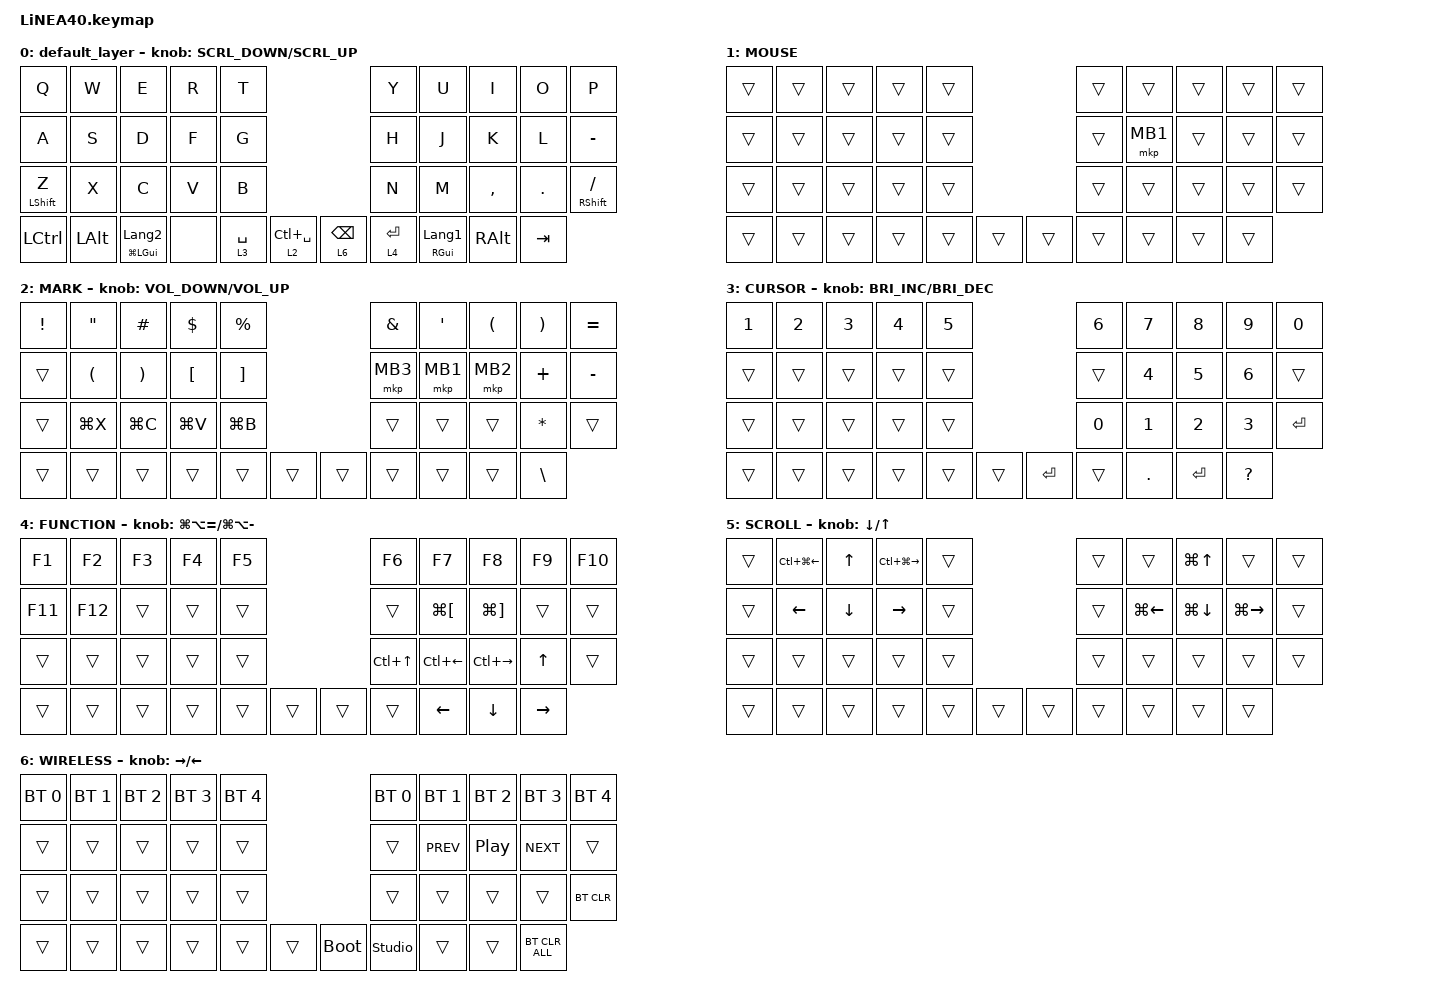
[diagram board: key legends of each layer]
#define ZMK_POINTING_DEFAULT_SCRL_VAL 150

#include <dt-bindings/zmk/input_transform.h>
#include <input/processors.dtsi>
#include <zephyr/dt-bindings/input/input-event-codes.h>
#include <behaviors.dtsi>
#include <dt-bindings/zmk/bt.h>
#include <dt-bindings/zmk/keys.h>
#include <dt-bindings/zmk/pointing.h>

#define MOUSE 1
#define MARK 2
#define CURSOR 3
#define FUNCTION 4
#define SCROLL 5
#define WIRELESS 6

//mouse cursol

&mmv {
    delay-ms = <20>;
    trigger-period-ms = <5>;
    time-to-max-speed-ms = <100>;
    acceleration-exponent = <2>;
};

//mouse scroll

&msc {
    delay-ms = <3>;
    trigger-period-ms = <3>;
    time-to-max-speed-ms = <100>;
    acceleration-exponent = <0>;
};

&lt { quick-tap-ms = <133>; };

/ {
    input_processors {
        zip_wheel_scaler: zip_wheel_scaler {
            compatible = "zmk,input-processor-scaler";
            #input-processor-cells = <2>;
            type = <INPUT_EV_REL>;
            codes = <INPUT_REL_WHEEL>;
            track-remainders;
        };
    };
};

&msc_input_listener {
    speed_up {
        layers = <FUNCTION>;
        input-processors = <&zip_wheel_scaler 3 1>; //スクロールを3倍速にする
    };
};

&trackball_listener {
    scroller {
        layers = <SCROLL>;
        input-processors =
            <&zip_xy_transform INPUT_TRANSFORM_Y_INVERT>,
            //スクロール方向を逆転,,,,,,,,,,,,,
            <&zip_xy_to_scroll_mapper>;
    };
};

/ {
    combos {
        compatible = "zmk,combos";

        ZenkakuHankaku {
            bindings = <&kp GRAVE>;
            key-positions = <11 12>;
        };

        DeleteKey {
            bindings = <&kp DEL>;
            key-positions = <7 8>;
        };

        InsertKey {
            bindings = <&kp INS>;
            key-positions = <6 7>;
        };

        CenterClick {
            bindings = <&mkp MB3>;
            key-positions = <17 16>;
        };

        RightClick {
            bindings = <&mkp MB2>;
            key-positions = <18 17>;
        };

        PrevClick {
            bindings = <&mkp MB4>;
            key-positions = <27 28>;
        };

        ClickNext {
            bindings = <&mkp MB5>;
            key-positions = <26 27>;
        };

        ESC6 {
            bindings = <&lt 6 ESCAPE>;
            key-positions = <35 36>;
        };

        ctrl+space {
            bindings = <&kp LC(SPACE)>;
            key-positions = <30 34>;
        };
    };

    behaviors {
        re_kp: sensor_rotate_kp {
            compatible = "zmk,behavior-sensor-rotate-var";
            #sensor-binding-cells = <2>;
            bindings = <&kp>, <&kp>;
        };

        mouse_scrl: mouse_wheel_scrl {
            compatible = "zmk,behavior-sensor-rotate-var";
            #sensor-binding-cells = <2>;
            bindings = <&msc>, <&msc>;

            tap-ms = <20>;
        };

        mt_z: mod_tap_z {
            compatible = "zmk,behavior-hold-tap";
            #binding-cells = <2>;
            flavor = "tap-preferred";  // ★キーを離した時は必ずTap（Z）を優先する
            tapping-term-ms = <230>;    // ★Tapとみなす時間を230ms程度に少し延ばす
            quick-tap-ms = <150>;       // Zの連打（zzなど）をスムーズにする
            bindings = <&kp>, <&kp>;
        };
    };

    keymap {
        compatible = "zmk,keymap";

        default_layer {
            bindings = <
&kp Q               &kp W         &kp E                        &kp R  &kp T                                            &kp Y        &kp U  &kp I                     &kp O          &kp P
&kp A               &kp S         &kp D                        &kp F  &kp G                                            &kp H        &kp J  &kp K                     &kp L          &kp MINUS
&mt_z LEFT_SHIFT Z  &kp X         &kp C                        &kp V  &kp B                                            &kp N        &kp M  &kp COMMA                 &kp DOT        &mt RIGHT_SHIFT SLASH
&kp LCTRL           &kp LEFT_ALT  &mt LG(LEFT_GUI) LANGUAGE_2  &none  &lt 3 SPACE  &lt 2 LC(SPACE)    &lt 6 BACKSPACE  &lt 4 ENTER         &mt RIGHT_GUI LANGUAGE_1  &kp RIGHT_ALT  &kp TAB
            >;

            sensor-bindings = <&mouse_scrl SCRL_DOWN SCRL_UP>;
        };

        //1

        MOUSE {
            bindings = <
&trans  &trans  &trans  &trans  &trans                    &trans  &trans    &trans  &trans  &trans
&trans  &trans  &trans  &trans  &trans                    &trans  &mkp MB1  &trans  &trans  &trans
&trans  &trans  &trans  &trans  &trans                    &trans  &trans    &trans  &trans  &trans
&trans  &trans  &trans  &trans  &trans  &trans    &trans  &trans            &trans  &trans  &trans
            >;
        };

        //2

        MARK {
            bindings = <
&kp EXCLAMATION  &kp DOUBLE_QUOTES     &kp HASH               &kp DOLLAR        &kp PERCENT                          &kp AMPERSAND  &kp SINGLE_QUOTE  &kp LEFT_PARENTHESIS  &kp RIGHT_PARENTHESIS  &kp EQUAL
&trans           &kp LEFT_PARENTHESIS  &kp RIGHT_PARENTHESIS  &kp LEFT_BRACKET  &kp RIGHT_BRACKET                    &mkp MB3       &mkp MB1          &mkp MB2              &kp PLUS               &kp MINUS
&trans           &kp LG(X)             &kp LG(C)              &kp LG(V)         &kp LG(B)                            &trans         &trans            &trans                &kp ASTRK              &trans
&trans           &trans                &trans                 &trans            &trans             &trans    &trans  &trans                           &trans                &trans                 &kp BACKSLASH
            >;

            sensor-bindings = <&re_kp C_VOLUME_DOWN C_VOLUME_UP>;
        };

        //3

        CURSOR {
            bindings = <
&kp NUMBER_1  &kp NUMBER_2  &kp NUMBER_3  &kp NUMBER_4  &kp N5                       &kp NUMBER_6  &kp NUMBER_7  &kp NUMBER_8  &kp NUMBER_9  &kp N0
&trans        &trans        &trans        &trans        &trans                       &trans        &kp NUMBER_4  &kp N5        &kp N6        &trans
&trans        &trans        &trans        &trans        &trans                       &kp N0        &kp NUMBER_1  &kp NUMBER_2  &kp NUMBER_3  &kp ENTER
&trans        &trans        &trans        &trans        &trans  &trans    &kp ENTER  &trans                      &kp DOT       &kp ENTER     &kp QUESTION
            >;

            sensor-bindings = <&re_kp C_BRIGHTNESS_INC C_BRIGHTNESS_DEC>;
        };

        //4

        FUNCTION {
            bindings = <
&kp F1   &kp F2   &kp F3  &kp F4  &kp F5                    &kp F6            &kp F7                &kp F8                 &kp F9        &kp F10
&kp F11  &kp F12  &trans  &trans  &trans                    &trans            &kp LG(LEFT_BRACKET)  &kp LG(RIGHT_BRACKET)  &trans        &trans
&trans   &trans   &trans  &trans  &trans                    &kp LC(UP_ARROW)  &kp LC(LEFT)          &kp LC(RIGHT)          &kp UP_ARROW  &trans
&trans   &trans   &trans  &trans  &trans  &trans    &trans  &trans                                  &kp LEFT               &kp DOWN      &kp RIGHT
            >;

            sensor-bindings = <&re_kp LG(LA(EQUAL)) LG(LA(MINUS))>;
        };

        //5

        SCROLL {
            bindings = <
&trans  &kp LC(LG(LEFT_ARROW))  &kp UP_ARROW  &kp LC(LG(RIGHT_ARROW))  &trans                    &trans  &trans        &kp LG(UP_ARROW)  &trans         &trans
&trans  &kp LEFT_ARROW          &kp DOWN      &kp RIGHT_ARROW          &trans                    &trans  &kp LG(LEFT)  &kp LG(DOWN)      &kp LG(RIGHT)  &trans
&trans  &trans                  &trans        &trans                   &trans                    &trans  &trans        &trans            &trans         &trans
&trans  &trans                  &trans        &trans                   &trans  &trans    &trans  &trans                &trans            &trans         &trans
            >;

            sensor-bindings = <&inc_dec_kp DOWN_ARROW UP_ARROW>;
        };

        //6

        WIRELESS {
            bindings = <
&bt BT_SEL 0  &bt BT_SEL 1  &bt BT_SEL 2  &bt BT_SEL 3  &bt BT_SEL 4                         &bt BT_SEL 0    &bt BT_SEL 1  &bt BT_SEL 2      &bt BT_SEL 3  &bt BT_SEL 4
&trans        &trans        &trans        &trans        &trans                               &trans          &kp C_PREV    &kp C_PLAY_PAUSE  &kp C_NEXT    &trans
&trans        &trans        &trans        &trans        &trans                               &trans          &trans        &trans            &trans        &bt BT_CLR
&trans        &trans        &trans        &trans        &trans        &trans    &bootloader  &studio_unlock                &trans            &trans        &bt BT_CLR_ALL
            >;

            sensor-bindings = <&inc_dec_kp RIGHT_ARROW LEFT_ARROW>;
        };
    };
};
